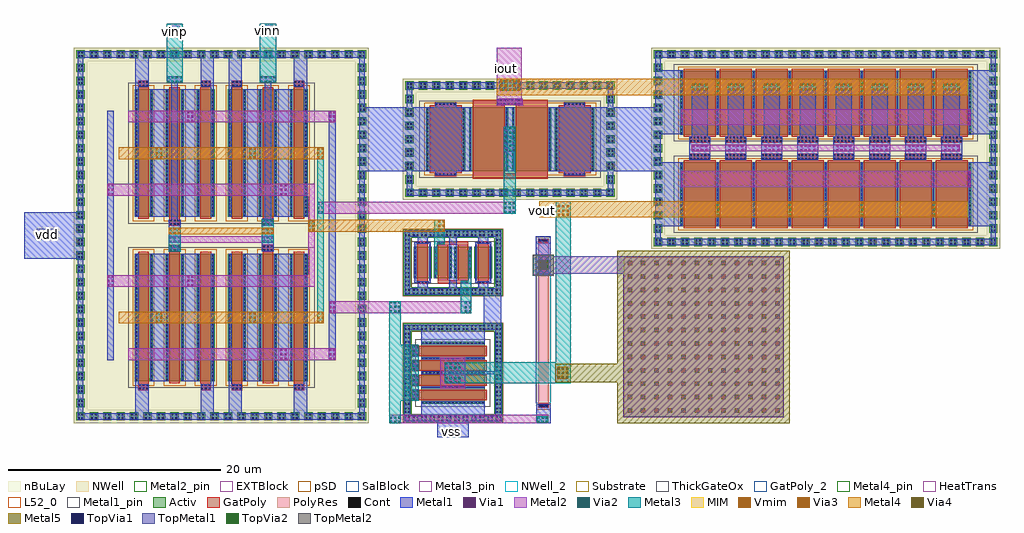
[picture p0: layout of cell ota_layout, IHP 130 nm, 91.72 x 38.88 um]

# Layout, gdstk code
from math import pi, radians
import gdstk
lib = gdstk.Library(unit=1e-6, precision=5e-09)
def R(c, l, rs):  # rectangles x0, y0, x1, y1
    for r in rs: c.add(gdstk.rectangle(r[:2], r[2:], *l))
def A(c, l, x, y, w, h, nx, ny, dx, dy):  # array of equal rectangles
    R(c, l, [(x+i*dx, y+j*dy, x+i*dx+w, y+j*dy+h) for i in range(nx) for j in range(ny)])
def P(c, l, *ps):  # polygons
    for p in ps: c.add(gdstk.Polygon(p, *l))
Activ = (1, 0)
GatPoly = (5, 0)
GatPoly_2 = (5, 2)
Cont = (6, 0)
Metal1 = (8, 0)
Metal1_pin = (8, 2)
Metal2 = (10, 0)
Metal2_pin = (10, 2)
pSD = (14, 0)
Via1 = (19, 0)
SalBlock = (28, 0)
Via2 = (29, 0)
Metal3 = (30, 0)
Metal3_pin = (30, 2)
NWell = (31, 0)
NWell_2 = (31, 2)
nBuLay = (32, 0)
MIM = (36, 0)
Substrate = (40, 0)
ThickGateOx = (44, 0)
Via3 = (49, 0)
Metal4 = (50, 0)
Metal4_pin = (50, 2)
HeatTrans = (51, 0)
L52_0 = (52, 0)
Via4 = (66, 0)
Metal5 = (67, 0)
EXTBlock = (111, 0)
TopVia1 = (125, 0)
TopMetal1 = (126, 0)
PolyRes = (128, 0)
Vmim = (129, 0)
TopVia2 = (133, 0)
TopMetal2 = (134, 0)

via_stack_21 = lib.new_cell('via_stack$21')
R(via_stack_21, Metal1, [(-0.555,-0.31,0.555,0.31)])
R(via_stack_21, Metal2, [(-0.555,-0.305,0.555,0.305)])
A(via_stack_21, Via1, -0.505, -0.3, 0.19, 0.19, 3, 2, 0.41, 0.41)
A(via_stack_21, Via2, -0.505, -0.3, 0.19, 0.19, 3, 2, 0.41, 0.41)
R(via_stack_21, Metal3, [(-0.555,-0.305,0.555,0.305)])

ntap1 = lib.new_cell('ntap1')
R(ntap1, Activ, [(0,0,0.78,0.78)])
R(ntap1, Cont, [(0.14,0.14,0.3,0.3), (0.48,0.14,0.64,0.3), (0.14,0.48,0.3,0.64), (0.48,0.48,0.64,0.64)])
R(ntap1, Metal1, [(0.14,0.09,0.64,0.69)])
R(ntap1, Metal1_pin, [(0.14,0.09,0.64,0.69), (0.14,0.14,0.64,0.64)])
R(ntap1, NWell, [(-0.24,-0.24,1.02,1.02), (0,0,0.78,0.78)])
R(ntap1, NWell_2, [(0,0,0.78,0.78)])
R(ntap1, nBuLay, [(-0.24,-0.24,1.02,1.02)])
ntap1.add(gdstk.Label('well', (0.39,0.01), layer=63, texttype=0))
ntap1.add(gdstk.Label('well', (0.39,0.01), layer=31, texttype=0))

rppd = lib.new_cell('rppd')
R(rppd, GatPoly, [(0,-0.43,1,-0.2), (0,-0.2,1,0), (0,15,1,15.2), (0,15.2,1,15.43)])
R(rppd, Cont, [(0.07,-0.36,0.93,-0.2), (0.07,15.2,0.93,15.36)])
R(rppd, Metal1, [(0.02,-0.43,0.98,-0.13), (0.02,15.13,0.98,15.43)])
R(rppd, Metal1_pin, [(0.02,-0.43,0.98,-0.13), (0.02,15.13,0.98,15.43)])
R(rppd, pSD, [(-0.18,-0.61,1.18,0), (-0.18,0,1.18,15), (-0.18,15,1.18,15.61)])
R(rppd, SalBlock, [(-0.2,0,1.2,15)])
R(rppd, L52_0, [(0,0,1,15)])
R(rppd, EXTBlock, [(-0.18,-0.61,1.18,0), (-0.2,0,1.2,15), (-0.18,15,1.18,15.61)])
R(rppd, PolyRes, [(0,0,1,15)])
rppd.add(gdstk.Label('rppd r=3946.740', (0.5,7.5), layer=63, texttype=0))
rppd.add(gdstk.Label('rppd', (0.5,7.5), layer=52, texttype=0))

pmoshv_2 = lib.new_cell('pmosHV$2')
R(pmoshv_2, Activ, [(0,0,0.3,0.3), (0,0,3.68,6), (3.38,0,3.68,0.3)])
R(pmoshv_2, GatPoly, [(0.34,-0.18,3.34,6.18)])
R(pmoshv_2, GatPoly_2, [(0.34,-0.18,3.34,6.18)])
A(pmoshv_2, Cont, 0.07, 0.07, 0.16, 0.16, 1, 4, 0, 0.355)
A(pmoshv_2, Cont, 3.45, 0.07, 0.16, 0.16, 1, 4, 0, 0.355)
A(pmoshv_2, Cont, 0.07, 1.495, 0.16, 0.16, 1, 4, 0, 0.355)
A(pmoshv_2, Cont, 3.45, 1.495, 0.16, 0.16, 1, 4, 0, 0.355)
A(pmoshv_2, Cont, 0.07, 2.92, 0.16, 0.16, 1, 4, 0, 0.355)
A(pmoshv_2, Cont, 3.45, 2.92, 0.16, 0.16, 1, 4, 0, 0.355)
A(pmoshv_2, Cont, 0.07, 4.345, 0.16, 0.16, 1, 4, 0, 0.355)
A(pmoshv_2, Cont, 3.45, 4.345, 0.16, 0.16, 1, 4, 0, 0.355)
R(pmoshv_2, Cont, [(0.07,5.77,0.23,5.93), (3.45,5.77,3.61,5.93)])
R(pmoshv_2, Metal1, [(0.07,0,0.23,6), (3.45,0,3.61,6)])
R(pmoshv_2, Metal1_pin, [(0.07,0,0.23,6), (3.45,0,3.61,6)])
R(pmoshv_2, pSD, [(-0.18,-0.4,3.86,6.4)])
R(pmoshv_2, NWell, [(-0.62,-0.62,4.3,6.62)])
R(pmoshv_2, Substrate, [(3.38,0,3.68,0.3)])
R(pmoshv_2, ThickGateOx, [(-0.62,-0.62,4.3,6.62)])
R(pmoshv_2, HeatTrans, [(0.34,-0.18,3.34,6.18)])
pmoshv_2.add(gdstk.Label('pmosHV', (1.84,3), layer=63, texttype=0))
pmoshv_2.add(gdstk.Label('pmos', (1.84,3), layer=51, texttype=0))

ptap1 = lib.new_cell('ptap1')
R(ptap1, Activ, [(0,0,0.78,0.78)])
R(ptap1, Cont, [(0.14,0.14,0.3,0.3), (0.48,0.14,0.64,0.3), (0.14,0.48,0.3,0.64), (0.48,0.48,0.64,0.64)])
R(ptap1, Metal1, [(0.14,0.09,0.64,0.69), (0.14,0.14,0.64,0.64)])
R(ptap1, Metal1_pin, [(0.14,0.14,0.64,0.64)])
R(ptap1, pSD, [(-0.03,-0.03,0.81,0.81)])
R(ptap1, Substrate, [(0,0,0.78,0.78)])
ptap1.add(gdstk.Label('sub!', (0.39,0.01), layer=63, texttype=0))
ptap1.add(gdstk.Label('sub!', (0.39,0.01), layer=40, texttype=0))

via_stack_37 = lib.new_cell('via_stack$37')
R(via_stack_37, Metal1, [(-0.35,-0.31,0.35,0.31)])
R(via_stack_37, Metal2, [(-0.35,-0.305,0.35,0.305)])
R(via_stack_37, Via1, [(-0.3,-0.3,-0.11,-0.11), (0.11,-0.3,0.3,-0.11), (-0.3,0.11,-0.11,0.3), (0.11,0.11,0.3,0.3)])
R(via_stack_37, Via2, [(-0.3,-0.3,-0.11,-0.11), (0.11,-0.3,0.3,-0.11), (-0.3,0.11,-0.11,0.3), (0.11,0.11,0.3,0.3)])
R(via_stack_37, Metal3, [(-0.35,-0.305,0.35,0.305)])
R(via_stack_37, Via3, [(-0.3,-0.3,-0.11,-0.11), (0.11,-0.3,0.3,-0.11), (-0.3,0.11,-0.11,0.3), (0.11,0.11,0.3,0.3)])
R(via_stack_37, Metal4, [(-0.35,-0.305,0.35,0.305)])
R(via_stack_37, Via4, [(-0.3,-0.3,-0.11,-0.11), (0.11,-0.3,0.3,-0.11), (-0.3,0.11,-0.11,0.3), (0.11,0.11,0.3,0.3)])
R(via_stack_37, Metal5, [(-0.35,-0.31,0.35,0.31)])
R(via_stack_37, TopVia1, [(-0.21,-0.21,0.21,0.21)])
R(via_stack_37, TopMetal1, [(-0.95,-0.95,0.95,0.95)])
R(via_stack_37, TopVia2, [(-0.45,-0.45,0.45,0.45)])
R(via_stack_37, TopMetal2, [(-1,-1,1,1)])

via_stack_17 = lib.new_cell('via_stack$17')
R(via_stack_17, Metal1, [(-0.76,-0.31,0.76,0.31)])
R(via_stack_17, Metal2, [(-0.76,-0.305,0.76,0.305)])
A(via_stack_17, Via1, -0.71, -0.3, 0.19, 0.19, 4, 2, 0.41, 0.41)
A(via_stack_17, Via2, -0.71, -0.3, 0.19, 0.19, 4, 2, 0.41, 0.41)
R(via_stack_17, Metal3, [(-0.76,-0.305,0.76,0.305)])
A(via_stack_17, Via3, -0.71, -0.3, 0.19, 0.19, 4, 2, 0.41, 0.41)
R(via_stack_17, Metal4, [(-0.76,-0.305,0.76,0.305)])

via_stack_15 = lib.new_cell('via_stack$15')
R(via_stack_15, GatPoly, [(-1,-0.32,1,0.32)])
A(via_stack_15, Cont, -0.93, -0.25, 0.16, 0.16, 6, 2, 0.34, 0.34)
R(via_stack_15, Metal1, [(-0.98,-0.25,0.98,0.25)])

via_stack_34 = lib.new_cell('via_stack$34')
R(via_stack_34, Metal3, [(-0.555,-0.51,0.555,0.51)])
A(via_stack_34, Via3, -0.505, -0.505, 0.19, 0.19, 3, 3, 0.41, 0.41)
R(via_stack_34, Metal4, [(-0.555,-0.51,0.555,0.51)])

pmoshv_3 = lib.new_cell('pmosHV$3')
A(pmoshv_3, Activ, 0, 0, 0.3, 0.3, 9, 1, 3.38, 0)
R(pmoshv_3, Activ, [(0,0,27.34,6)])
A(pmoshv_3, GatPoly, 0.34, -0.18, 3, 6.36, 8, 1, 3.38, 0)
R(pmoshv_3, GatPoly_2, [(0.34,-0.18,3.34,6.18)])
A(pmoshv_3, Cont, 0.07, 0.07, 0.16, 0.16, 9, 4, 3.38, 0.355)
A(pmoshv_3, Cont, 0.07, 1.495, 0.16, 0.16, 9, 4, 3.38, 0.355)
A(pmoshv_3, Cont, 0.07, 2.92, 0.16, 0.16, 9, 4, 3.38, 0.355)
A(pmoshv_3, Cont, 0.07, 4.345, 0.16, 0.16, 9, 4, 3.38, 0.355)
A(pmoshv_3, Cont, 0.07, 5.77, 0.16, 0.16, 9, 1, 3.38, 0)
A(pmoshv_3, Metal1, 0.07, 0, 0.16, 6, 9, 1, 3.38, 0)
R(pmoshv_3, Metal1_pin, [(0.07,0,0.23,6), (3.45,0,3.61,6)])
R(pmoshv_3, pSD, [(-0.18,-0.4,27.52,6.4)])
R(pmoshv_3, NWell, [(-0.62,-0.62,27.96,6.62)])
R(pmoshv_3, Substrate, [(27.04,0,27.34,0.3)])
R(pmoshv_3, ThickGateOx, [(-0.62,-0.62,27.96,6.62)])
A(pmoshv_3, HeatTrans, 0.34, -0.18, 3, 6.36, 8, 1, 3.38, 0)
pmoshv_3.add(gdstk.Label('pmosHV', (1.84,3), layer=63, texttype=0))
pmoshv_3.add(gdstk.Label('pmos', (1.84,3), layer=51, texttype=0))
pmoshv_3.add(gdstk.Label('pmos', (5.22,3), layer=51, texttype=0))
pmoshv_3.add(gdstk.Label('pmos', (8.6,3), layer=51, texttype=0))
pmoshv_3.add(gdstk.Label('pmos', (11.98,3), layer=51, texttype=0))
pmoshv_3.add(gdstk.Label('pmos', (15.36,3), layer=51, texttype=0))
pmoshv_3.add(gdstk.Label('pmos', (18.74,3), layer=51, texttype=0))
pmoshv_3.add(gdstk.Label('pmos', (22.12,3), layer=51, texttype=0))
pmoshv_3.add(gdstk.Label('pmos', (25.5,3), layer=51, texttype=0))

via_stack_13 = lib.new_cell('via_stack$13')
R(via_stack_13, Metal1, [(-0.105,-0.76,0.105,0.76)])
R(via_stack_13, Metal2, [(-0.1,-0.76,0.1,0.76)])
A(via_stack_13, Via1, -0.095, -0.71, 0.19, 0.19, 1, 4, 0, 0.41)
A(via_stack_13, Via2, -0.095, -0.71, 0.19, 0.19, 1, 4, 0, 0.41)
R(via_stack_13, Metal3, [(-0.1,-0.76,0.1,0.76)])
A(via_stack_13, Via3, -0.095, -0.71, 0.19, 0.19, 1, 4, 0, 0.41)
R(via_stack_13, Metal4, [(-0.1,-0.76,0.1,0.76)])

via_stack_32 = lib.new_cell('via_stack$32')
R(via_stack_32, GatPoly, [(-1,-0.15,1,0.15)])
A(via_stack_32, Cont, -0.93, -0.08, 0.16, 0.16, 6, 1, 0.34, 0)
R(via_stack_32, Metal1, [(-0.98,-0.08,0.98,0.08)])

via_stack_16 = lib.new_cell('via_stack$16')
R(via_stack_16, Metal1, [(-0.76,-0.31,0.76,0.31)])
R(via_stack_16, Metal2, [(-0.76,-0.305,0.76,0.305)])
A(via_stack_16, Via1, -0.71, -0.3, 0.19, 0.19, 4, 2, 0.41, 0.41)

via_stack_14 = lib.new_cell('via_stack$14')
R(via_stack_14, Metal1, [(-0.105,-0.76,0.105,0.76)])
R(via_stack_14, Metal2, [(-0.1,-0.76,0.1,0.76)])
A(via_stack_14, Via1, -0.095, -0.71, 0.19, 0.19, 1, 4, 0, 0.41)

via_stack_1 = lib.new_cell('via_stack$1')
R(via_stack_1, Metal1, [(-0.31,-0.555,0.31,0.555)])
R(via_stack_1, Metal2, [(-0.305,-0.555,0.305,0.555)])
A(via_stack_1, Via1, -0.3, -0.505, 0.19, 0.19, 1, 3, 0, 0.41)
A(via_stack_1, Via1, 0.11, -0.505, 0.19, 0.19, 1, 3, 0, 0.41)
A(via_stack_1, Via2, -0.3, -0.505, 0.19, 0.19, 1, 3, 0, 0.41)
A(via_stack_1, Via2, 0.11, -0.505, 0.19, 0.19, 1, 3, 0, 0.41)
R(via_stack_1, Metal3, [(-0.305,-0.555,0.305,0.555)])
A(via_stack_1, Via3, -0.3, -0.505, 0.19, 0.19, 1, 3, 0, 0.41)
A(via_stack_1, Via3, 0.11, -0.505, 0.19, 0.19, 1, 3, 0, 0.41)
R(via_stack_1, Metal4, [(-0.305,-0.555,0.305,0.555)])

via_stack_26 = lib.new_cell('via_stack$26')
R(via_stack_26, Metal2, [(-0.555,-0.51,0.555,0.51)])
A(via_stack_26, Via2, -0.505, -0.505, 0.19, 0.19, 3, 3, 0.41, 0.41)
R(via_stack_26, Metal3, [(-0.555,-0.51,0.555,0.51)])

via_stack_7 = lib.new_cell('via_stack$7')
R(via_stack_7, Metal3, [(-0.555,-0.305,0.555,0.305)])
A(via_stack_7, Via3, -0.505, -0.3, 0.19, 0.19, 3, 2, 0.41, 0.41)
R(via_stack_7, Metal4, [(-0.555,-0.305,0.555,0.305)])

via_stack_12 = lib.new_cell('via_stack$12')
R(via_stack_12, GatPoly, [(-1,-0.32,1,0.32)])
A(via_stack_12, Cont, -0.93, -0.25, 0.16, 0.16, 6, 2, 0.34, 0.34)
R(via_stack_12, Metal1, [(-1.17,-0.31,1.17,0.31)])
R(via_stack_12, Metal2, [(-1.17,-0.305,1.17,0.305)])
A(via_stack_12, Via1, -1.12, -0.3, 0.19, 0.19, 6, 2, 0.41, 0.41)

via_stack_11 = lib.new_cell('via_stack$11')
R(via_stack_11, Metal1, [(-0.515,-1.17,0.515,1.17)])
R(via_stack_11, Metal2, [(-0.51,-1.17,0.51,1.17)])
A(via_stack_11, Via1, -0.505, -1.12, 0.19, 0.19, 3, 6, 0.41, 0.41)
A(via_stack_11, Via2, -0.505, -1.12, 0.19, 0.19, 3, 6, 0.41, 0.41)
R(via_stack_11, Metal3, [(-0.51,-1.17,0.51,1.17)])

via_stack_3 = lib.new_cell('via_stack$3')
R(via_stack_3, Metal1, [(-0.31,-0.555,0.31,0.555)])
R(via_stack_3, Metal2, [(-0.305,-0.555,0.305,0.555)])
A(via_stack_3, Via1, -0.3, -0.505, 0.19, 0.19, 1, 3, 0, 0.41)
A(via_stack_3, Via1, 0.11, -0.505, 0.19, 0.19, 1, 3, 0, 0.41)

via_stack_4 = lib.new_cell('via_stack$4')
R(via_stack_4, Metal1, [(-0.76,-0.31,0.76,0.31)])
R(via_stack_4, Metal2, [(-0.76,-0.305,0.76,0.305)])
A(via_stack_4, Via1, -0.71, -0.3, 0.19, 0.19, 4, 2, 0.41, 0.41)
A(via_stack_4, Via2, -0.71, -0.3, 0.19, 0.19, 4, 2, 0.41, 0.41)
R(via_stack_4, Metal3, [(-0.76,-0.305,0.76,0.305)])

via_stack_2 = lib.new_cell('via_stack$2')
R(via_stack_2, Metal3, [(-0.305,-0.555,0.305,0.555)])
A(via_stack_2, Via3, -0.3, -0.505, 0.19, 0.19, 1, 3, 0, 0.41)
A(via_stack_2, Via3, 0.11, -0.505, 0.19, 0.19, 1, 3, 0, 0.41)
R(via_stack_2, Metal4, [(-0.305,-0.555,0.305,0.555)])

via_stack_23 = lib.new_cell('via_stack$23')
R(via_stack_23, Metal2, [(-0.965,-0.51,0.965,0.51)])
A(via_stack_23, Via2, -0.915, -0.505, 0.19, 0.19, 5, 3, 0.41, 0.41)
R(via_stack_23, Metal3, [(-0.965,-0.51,0.965,0.51)])
A(via_stack_23, Via3, -0.915, -0.505, 0.19, 0.19, 5, 3, 0.41, 0.41)
R(via_stack_23, Metal4, [(-0.965,-0.51,0.965,0.51)])

via_stack = lib.new_cell('via_stack')
R(via_stack, GatPoly, [(-0.49,-0.32,0.49,0.32)])
A(via_stack, Cont, -0.42, -0.25, 0.16, 0.16, 3, 2, 0.34, 0.34)
R(via_stack, Metal1, [(-0.47,-0.25,0.47,0.25)])

via_stack_28 = lib.new_cell('via_stack$28')
R(via_stack_28, Metal2, [(-0.305,-0.555,0.305,0.555)])
A(via_stack_28, Via2, -0.3, -0.505, 0.19, 0.19, 1, 3, 0, 0.41)
A(via_stack_28, Via2, 0.11, -0.505, 0.19, 0.19, 1, 3, 0, 0.41)
R(via_stack_28, Metal3, [(-0.305,-0.555,0.305,0.555)])
A(via_stack_28, Via3, -0.3, -0.505, 0.19, 0.19, 1, 3, 0, 0.41)
A(via_stack_28, Via3, 0.11, -0.505, 0.19, 0.19, 1, 3, 0, 0.41)
R(via_stack_28, Metal4, [(-0.305,-0.555,0.305,0.555)])

via_stack_6 = lib.new_cell('via_stack$6')
R(via_stack_6, GatPoly, [(-0.49,-0.32,0.49,0.32)])
A(via_stack_6, Cont, -0.42, -0.25, 0.16, 0.16, 3, 2, 0.34, 0.34)
R(via_stack_6, Metal1, [(-0.555,-0.31,0.555,0.31)])
R(via_stack_6, Metal2, [(-0.555,-0.305,0.555,0.305)])
A(via_stack_6, Via1, -0.505, -0.3, 0.19, 0.19, 3, 2, 0.41, 0.41)
A(via_stack_6, Via2, -0.505, -0.3, 0.19, 0.19, 3, 2, 0.41, 0.41)
R(via_stack_6, Metal3, [(-0.555,-0.305,0.555,0.305)])

pmoshv = lib.new_cell('pmosHV')
R(pmoshv, Activ, [(0,0,0.3,0.3), (0,0,1.68,12), (1.38,0,1.68,0.3)])
R(pmoshv, GatPoly, [(0.34,-0.18,1.34,12.18)])
R(pmoshv, GatPoly_2, [(0.34,-0.18,1.34,12.18)])
A(pmoshv, Cont, 0.07, 0.41, 0.16, 0.16, 1, 5, 0, 0.345)
A(pmoshv, Cont, 1.45, 0.41, 0.16, 0.16, 1, 5, 0, 0.345)
A(pmoshv, Cont, 0.07, 2.13, 0.16, 0.16, 1, 6, 0, 0.345)
A(pmoshv, Cont, 1.45, 2.13, 0.16, 0.16, 1, 6, 0, 0.345)
A(pmoshv, Cont, 0.07, 4.195, 0.16, 0.16, 1, 6, 0, 0.345)
A(pmoshv, Cont, 1.45, 4.195, 0.16, 0.16, 1, 6, 0, 0.345)
A(pmoshv, Cont, 0.07, 6.26, 0.16, 0.16, 1, 5, 0, 0.345)
A(pmoshv, Cont, 1.45, 6.26, 0.16, 0.16, 1, 5, 0, 0.345)
A(pmoshv, Cont, 0.07, 7.98, 0.16, 0.16, 1, 6, 0, 0.345)
A(pmoshv, Cont, 1.45, 7.98, 0.16, 0.16, 1, 6, 0, 0.345)
A(pmoshv, Cont, 0.07, 10.045, 0.16, 0.16, 1, 6, 0, 0.345)
A(pmoshv, Cont, 1.45, 10.045, 0.16, 0.16, 1, 6, 0, 0.345)
R(pmoshv, Cont, [(0.07,0.07,0.23,0.23), (1.45,0.07,1.61,0.23)])
R(pmoshv, Metal1, [(0.07,0,0.23,12), (1.45,0,1.61,12)])
R(pmoshv, Metal1_pin, [(0.07,0,0.23,12), (1.45,0,1.61,12)])
R(pmoshv, pSD, [(-0.18,-0.4,1.86,12.4)])
R(pmoshv, NWell, [(-0.62,-0.62,2.3,12.62)])
R(pmoshv, Substrate, [(1.38,0,1.68,0.3)])
R(pmoshv, ThickGateOx, [(-0.62,-0.62,2.3,12.62)])
R(pmoshv, HeatTrans, [(0.34,-0.18,1.34,12.18)])
pmoshv.add(gdstk.Label('pmosHV', (0.84,6), layer=63, texttype=0))
pmoshv.add(gdstk.Label('pmos', (0.84,6), layer=51, texttype=0))

via_stack_24 = lib.new_cell('via_stack$24')
R(via_stack_24, Metal2, [(-0.305,-0.555,0.305,0.555)])
A(via_stack_24, Via2, -0.3, -0.505, 0.19, 0.19, 1, 3, 0, 0.41)
A(via_stack_24, Via2, 0.11, -0.505, 0.19, 0.19, 1, 3, 0, 0.41)
R(via_stack_24, Metal3, [(-0.305,-0.555,0.305,0.555)])

nmoshv_1 = lib.new_cell('nmosHV$1')
R(nmoshv_1, Activ, [(0,0,0.3,0.3), (0,0,1.68,3), (1.38,0,1.68,0.3)])
R(nmoshv_1, GatPoly, [(0.34,-0.18,1.34,3.18)])
R(nmoshv_1, GatPoly_2, [(0.34,-0.18,1.34,3.18)])
A(nmoshv_1, Cont, 0.07, 0.07, 0.16, 0.16, 1, 7, 0, 0.385)
A(nmoshv_1, Cont, 1.45, 0.07, 0.16, 0.16, 1, 7, 0, 0.385)
R(nmoshv_1, Cont, [(0.07,2.77,0.23,2.93), (1.45,2.77,1.61,2.93)])
R(nmoshv_1, Metal1, [(0.07,0,0.23,3), (1.45,0,1.61,3)])
R(nmoshv_1, Metal1_pin, [(0.07,0,0.23,3), (1.45,0,1.61,3)])
R(nmoshv_1, ThickGateOx, [(-0.27,-0.52,1.95,3.52)])
R(nmoshv_1, HeatTrans, [(0.34,-0.18,1.34,3.18)])
nmoshv_1.add(gdstk.Label('nmosHV', (0.84,1.5), layer=63, texttype=0))
nmoshv_1.add(gdstk.Label('nmosHV', (0.84,1.5), layer=51, texttype=0))

via_stack_8 = lib.new_cell('via_stack$8')
R(via_stack_8, Metal1, [(-0.105,-1.17,0.105,1.17)])
R(via_stack_8, Metal2, [(-0.1,-1.17,0.1,1.17)])
A(via_stack_8, Via1, -0.095, -1.12, 0.19, 0.19, 1, 6, 0, 0.41)
A(via_stack_8, Via2, -0.095, -1.12, 0.19, 0.19, 1, 6, 0, 0.41)
R(via_stack_8, Metal3, [(-0.1,-1.17,0.1,1.17)])

via_stack_29 = lib.new_cell('via_stack$29')
R(via_stack_29, Metal2, [(-0.555,-0.305,0.555,0.305)])
A(via_stack_29, Via2, -0.505, -0.3, 0.19, 0.19, 3, 2, 0.41, 0.41)
R(via_stack_29, Metal3, [(-0.555,-0.305,0.555,0.305)])

via_stack_33 = lib.new_cell('via_stack$33')
R(via_stack_33, GatPoly, [(-0.49,-0.15,0.49,0.15)])
A(via_stack_33, Cont, -0.42, -0.08, 0.16, 0.16, 3, 1, 0.34, 0)
R(via_stack_33, Metal1, [(-0.47,-0.08,0.47,0.08)])

via_stack_18 = lib.new_cell('via_stack$18')
R(via_stack_18, Metal1, [(-0.105,-1.17,0.105,1.17)])
R(via_stack_18, Metal2, [(-0.1,-1.17,0.1,1.17)])
A(via_stack_18, Via1, -0.095, -1.12, 0.19, 0.19, 1, 6, 0, 0.41)

via_stack_5 = lib.new_cell('via_stack$5')
R(via_stack_5, Metal1, [(-0.555,-0.31,0.555,0.31)])
R(via_stack_5, Metal2, [(-0.555,-0.305,0.555,0.305)])
A(via_stack_5, Via1, -0.505, -0.3, 0.19, 0.19, 3, 2, 0.41, 0.41)

via_stack_10 = lib.new_cell('via_stack$10')
R(via_stack_10, Metal1, [(-0.35,-0.105,0.35,0.105)])
R(via_stack_10, Metal2, [(-0.35,-0.1,0.35,0.1)])
R(via_stack_10, Via1, [(-0.3,-0.095,-0.11,0.095), (0.11,-0.095,0.3,0.095)])
R(via_stack_10, Via2, [(-0.3,-0.095,-0.11,0.095), (0.11,-0.095,0.3,0.095)])
R(via_stack_10, Metal3, [(-0.35,-0.1,0.35,0.1)])

nmoshv = lib.new_cell('nmosHV')
A(nmoshv, Activ, 0, 0, 0.3, 0.3, 5, 1, 1.38, 0)
R(nmoshv, Activ, [(0,0,5.82,6)])
A(nmoshv, GatPoly, 0.34, -0.18, 1, 6.36, 4, 1, 1.38, 0)
R(nmoshv, GatPoly_2, [(0.34,-0.18,1.34,6.18)])
A(nmoshv, Cont, 0.07, 0.07, 0.16, 0.16, 5, 4, 1.38, 0.355)
A(nmoshv, Cont, 0.07, 1.495, 0.16, 0.16, 5, 4, 1.38, 0.355)
A(nmoshv, Cont, 0.07, 2.92, 0.16, 0.16, 5, 4, 1.38, 0.355)
A(nmoshv, Cont, 0.07, 4.345, 0.16, 0.16, 5, 4, 1.38, 0.355)
A(nmoshv, Cont, 0.07, 5.77, 0.16, 0.16, 5, 1, 1.38, 0)
A(nmoshv, Metal1, 0.07, 0, 0.16, 6, 5, 1, 1.38, 0)
R(nmoshv, Metal1_pin, [(0.07,0,0.23,6), (1.45,0,1.61,6)])
R(nmoshv, ThickGateOx, [(-0.27,-0.52,6.09,6.52)])
A(nmoshv, HeatTrans, 0.34, -0.18, 1, 6.36, 4, 1, 1.38, 0)
nmoshv.add(gdstk.Label('nmosHV', (0.84,3), layer=63, texttype=0))
nmoshv.add(gdstk.Label('nmosHV', (0.84,3), layer=51, texttype=0))
nmoshv.add(gdstk.Label('nmosHV', (2.22,3), layer=51, texttype=0))
nmoshv.add(gdstk.Label('nmosHV', (3.6,3), layer=51, texttype=0))
nmoshv.add(gdstk.Label('nmosHV', (4.98,3), layer=51, texttype=0))

via_stack_19 = lib.new_cell('via_stack$19')
R(via_stack_19, Metal2, [(-0.305,-0.76,0.305,0.76)])
A(via_stack_19, Via2, -0.3, -0.71, 0.19, 0.19, 1, 4, 0, 0.41)
A(via_stack_19, Via2, 0.11, -0.71, 0.19, 0.19, 1, 4, 0, 0.41)
R(via_stack_19, Metal3, [(-0.305,-0.76,0.305,0.76)])

via_stack_9 = lib.new_cell('via_stack$9')
R(via_stack_9, GatPoly, [(-0.32,-0.15,0.32,0.15)])
R(via_stack_9, Cont, [(-0.25,-0.08,-0.09,0.08), (0.09,-0.08,0.25,0.08)])
R(via_stack_9, Metal1, [(-0.35,-0.105,0.35,0.105)])
R(via_stack_9, Metal2, [(-0.35,-0.1,0.35,0.1)])
R(via_stack_9, Via1, [(-0.3,-0.095,-0.11,0.095), (0.11,-0.095,0.3,0.095)])
R(via_stack_9, Via2, [(-0.3,-0.095,-0.11,0.095), (0.11,-0.095,0.3,0.095)])
R(via_stack_9, Metal3, [(-0.35,-0.1,0.35,0.1)])

cmim = lib.new_cell('cmim')
R(cmim, MIM, [(0,0,15,15)])
R(cmim, Metal5, [(-0.6,-0.6,15.6,15.6)])
R(cmim, TopMetal1, [(-0.06,-0.06,15.06,15.06)])
A(cmim, Vmim, 0.36, 0.36, 0.42, 0.42, 12, 12, 1.26, 1.26)

via_stack_35 = lib.new_cell('via_stack$35')
R(via_stack_35, Metal3, [(-0.555,-0.51,0.555,0.51)])
A(via_stack_35, Via3, -0.505, -0.505, 0.19, 0.19, 3, 3, 0.41, 0.41)
R(via_stack_35, Metal4, [(-0.555,-0.51,0.555,0.51)])
A(via_stack_35, Via4, -0.505, -0.505, 0.19, 0.19, 3, 3, 0.41, 0.41)
R(via_stack_35, Metal5, [(-0.555,-0.51,0.555,0.51)])

ota_layout = lib.new_cell('ota_layout')
R(ota_layout, GatPoly, [(-18.53,3.7,-15.64,3.955), (-18.53,7.315,-15.64,7.57), (-15.235,13.5,-8.195,14.045), (-15.235,20.405,-8.195,20.95)])
A(ota_layout, Metal1, 5.135, 15.3, 1.96, 2.16, 8, 1, 3.38, 0)
A(ota_layout, Metal1, 5.355, 16.07, 1.52, 6.375, 8, 1, 3.38, 0)
R(ota_layout, Metal1, [(-18.555,-10.8,-15.615,-8.78), (-9.27,-9.45,-7.91,-7.7), (-21.675,-9.28,-21.075,-0.2), (-21.675,-9.28,-12.495,-8.78), (-20.085,-9.28,-14.085,-7.42), (-13.095,-9.28,-12.495,-0.2), (-52.335,-9.12,-51.835,25.5), (-52.335,-9.12,-25.375,-8.52), (-46.925,-9.12,-45.685,-5.785), (-40.785,-9.12,-39.545,-5.785), (-38.165,-9.12,-36.925,-5.785), (-32.025,-9.12,-30.785,-5.785), (-25.875,-9.12,-25.375,25.5), (-46.925,-6.285,-46.625,6.465), (-46.925,-6.285,-45.685,-5.785), (-46.925,-6.285,-46.625,-5.67), (-40.785,-6.285,-39.545,-5.785), (-39.845,-6.285,-39.545,6.465), (-38.165,-6.285,-37.865,6.465), (-38.165,-6.285,-36.925,-5.785), (-32.025,-6.285,-30.785,-5.785), (-31.085,-6.285,-30.785,6.465), (-45.545,-5.535,-43.845,6.465), (-42.625,-5.535,-40.925,6.465), (-36.785,-5.535,-35.085,6.465), (-33.865,-5.535,-32.165,6.465), (-20.085,-4.88,-12.495,-4.6), (-49.595,-3.535,-48.975,19.91), (-28.74,-3.535,-28.12,19.91), (-20.085,-2.06,-14.085,-0.2), (-21.675,-0.7,-12.495,-0.2), (-14.18,-0.2,-12.545,2.605), (-21.625,2.605,-21.125,8.665), (-21.625,2.605,-12.545,3.205), (-20.405,2.605,-19.465,3.885), (-17.42,2.605,-16.75,8.665), (-13.045,2.605,-12.545,8.665), (-20.705,3.725,-20.545,4.135), (-20.705,3.725,-19.165,3.885), (-19.325,3.725,-19.165,7.545), (-15.005,3.725,-14.845,7.545), (-15.005,3.725,-13.465,3.885), (-13.625,3.725,-13.465,7.545), (-9.29,4.57,-7.89,8.08), (-57.395,6,-51.835,10.38), (-35.03,6.715,-33.92,8.885), (-20.705,7.135,-20.545,7.545), (1.945,7.26,2.445,25.5), (1.945,7.26,33.945,7.86), (33.445,7.26,33.945,25.5), (-20.705,7.385,-19.165,7.545), (-20.405,7.385,-19.465,8.665), (-15.005,7.385,-13.465,7.545), (-14.705,7.385,-13.765,8.665), (-43.79,7.475,-42.68,9.665), (-21.625,8.065,-12.545,8.665), (1.945,9.05,4.505,15.05), (31.385,9.05,33.945,15.05), (-43.535,9.165,-42.935,23.155), (-34.775,9.725,-34.175,23.15), (-46.925,9.915,-46.625,22.665), (-45.545,9.915,-43.845,21.915), (-42.625,9.915,-40.925,21.915), (-39.845,9.915,-39.545,22.665), (-38.165,9.915,-37.865,22.665), (-36.785,9.915,-35.085,21.915), (-33.865,9.915,-32.165,21.915), (-31.085,9.915,-30.785,22.665), (-21.415,11.885,-2.015,12.485), (-21.415,11.885,-20.915,22.565), (-2.515,11.885,-2.015,22.565), (-18.755,13.815,-16.795,14.225), (-6.635,13.815,-4.675,14.225), (-25.875,14.225,-15.345,20.225), (-12.125,14.225,-11.305,20.225), (-7.925,14.225,2.445,20.225), (1.945,17.71,4.505,23.71), (31.385,17.71,33.945,23.71), (-18.755,20.225,-16.795,20.635), (-6.635,20.225,-4.675,20.635), (-21.415,21.965,-2.015,22.565), (-46.925,22.165,-45.685,22.665), (-46.925,22.165,-45.685,25.5), (-40.785,22.165,-39.545,22.665), (-40.785,22.165,-39.545,25.5), (-38.165,22.165,-36.925,22.665), (-38.165,22.165,-36.925,25.5), (-32.025,22.165,-30.785,22.665), (-32.025,22.165,-30.785,25.5), (-52.335,24.9,-25.375,25.5), (1.945,24.9,33.945,25.5)])
P(ota_layout, Metal1, [(-14.705,2.605),(-14.705,3.885),(-13.765,3.885),(-13.765,2.605),(-14.14,2.605)])
R(ota_layout, Metal1_pin, [(-17.38,-10.515,-17.08,-9.915), (-56.185,7.79,-54.185,8.79)])
R(ota_layout, Metal2, [(-23.08,-9.45,-8.11,-8.67), (-18.255,-6.22,-15.915,-3.26), (-47.615,-3.535,-28.12,-2.425), (-28.73,0.885,-15.35,1.995), (-49.59,3.35,-30.095,4.46), (-30.7,3.35,-30.09,13.025), (-16.34,3.7,-15.64,3.935), (-18.53,7.335,-17.86,7.59), (-43.79,7.48,-33.92,8.09), (-29.84,10.22,-11.205,11.33), (-49.59,11.915,-30.095,13.025), (4.325,12.715,31.565,14.235), (5.355,16.075,30.535,16.685), (4.325,18.525,31.565,20.045), (-47.615,18.8,-28.12,19.91), (-12.97,20.42,-10.63,25.83)])
R(ota_layout, Metal2_pin, [(-12.205,23.62,-11.205,24.12)])
R(ota_layout, Metal3, [(-23.08,-9.45,-21.97,1.995), (-23.08,-7.365,-20.28,-2.115), (-17.845,-5.735,-5.995,-3.745), (-7.425,-5.735,-5.995,11.385), (-29.84,-0.09,-29.23,16.47), (-16.34,0.885,-15.35,3.93), (-15.64,3.73,-15.35,6.805), (-18.82,4.465,-18.56,7.54), (-43.79,6.66,-42.68,8.89), (-18.82,7.34,-17.86,9.655), (-35.03,7.475,-33.92,9.72), (-12.315,10.22,-11.205,18.395), (-35.23,22.535,-33.71,28.085), (-43.995,22.54,-42.475,28.085)])
R(ota_layout, Metal3_pin, [(-43.755,26.885,-42.755,27.885), (-34.985,26.91,-33.985,27.91)])
R(ota_layout, NWell, [(-51.455,-8.19,-26.255,24.57), (2.825,8.19,33.065,24.57), (-20.535,12.815,-2.895,21.635)])
R(ota_layout, Metal4, [(-48.475,-0.09,-47.615,1.02), (-47.615,-0.09,-29.235,1.02), (-43.79,8.28,-33.92,8.89), (-30.7,8.545,-17.865,9.655), (-8.955,9.865,31.275,11.385), (-48.475,15.36,-47.615,16.47), (-47.615,15.36,-29.235,16.47), (-12.97,21.375,31.275,22.895)])
R(ota_layout, Metal4_pin, [(-8.955,10.31,-7.955,10.81)])
R(ota_layout, Metal5, [(2.26,-9.45,14.565,6.75), (-7.465,-5.605,-1.635,-3.875)])
R(ota_layout, TopMetal1, [(-9.29,4.57,14.025,6.21)])
ota_layout.add(gdstk.Reference(via_stack_21, (-8.665,-9.14), rotation=pi, x_reflection=True))
r = gdstk.Reference(ntap1, (-52.475,-9.21)); r.repetition = gdstk.Repetition(1, 28, v1=(0,0), v2=(0,1.26)); ota_layout.add(r)
r = gdstk.Reference(ntap1, (-26.015,-9.21)); r.repetition = gdstk.Repetition(1, 28, v1=(0,0), v2=(0,1.26)); ota_layout.add(r)
ota_layout.add(gdstk.Reference(rppd, (-8.09,-7.57), rotation=pi, x_reflection=True))
r = gdstk.Reference(ntap1, (-21.555,12.575), x_reflection=True); r.repetition = gdstk.Repetition(16, 1, v1=(1.26,0), v2=(0,0)); ota_layout.add(r)
r = gdstk.Reference(ntap1, (-21.555,22.655), x_reflection=True); r.repetition = gdstk.Repetition(16, 1, v1=(1.26,0), v2=(0,0)); ota_layout.add(r)
r = gdstk.Reference(ntap1, (2.585,25.59), rotation=pi); r.repetition = gdstk.Repetition(1, 15, v1=(0,0), v2=(0,-1.26)); ota_layout.add(r)
r = gdstk.Reference(ntap1, (34.085,25.59), rotation=pi); r.repetition = gdstk.Repetition(1, 15, v1=(0,0), v2=(0,-1.26)); ota_layout.add(r)
ota_layout.add(gdstk.Reference(pmoshv_2, (-11.535,14.225)))
r = gdstk.Reference(ptap1, (-21.765,7.975)); r.repetition = gdstk.Repetition(12, 1, v1=(0.78,0), v2=(0,0)); ota_layout.add(r)
ota_layout.add(gdstk.Reference(via_stack_37, (-8.595,5.385)))
r = gdstk.Reference(via_stack_17, (29.775,22.135), rotation=pi); r.repetition = gdstk.Repetition(8, 1, v1=(-3.38,0), v2=(0,0)); ota_layout.add(r)
r = gdstk.Reference(via_stack_15, (29.775,17.21), rotation=pi); r.repetition = gdstk.Repetition(8, 1, v1=(-3.38,0), v2=(0,0)); ota_layout.add(r)
r = gdstk.Reference(ntap1, (-2.655,21.395), x_reflection=True); r.repetition = gdstk.Repetition(1, 7, v1=(0,0), v2=(0,-1.26)); ota_layout.add(r)
ota_layout.add(gdstk.Reference(via_stack_34, (-6.71,10.52), rotation=pi/2))
ota_layout.add(gdstk.Reference(pmoshv_2, (-7.495,14.225)))
ota_layout.add(gdstk.Reference(pmoshv_3, (4.275,9.05)))
ota_layout.add(gdstk.Reference(pmoshv_3, (4.275,17.64)))
r = gdstk.Reference(via_stack_13, (28.085,10.625), rotation=pi); r.repetition = gdstk.Repetition(4, 1, v1=(-6.76,0), v2=(0,0)); ota_layout.add(r)
r = gdstk.Reference(via_stack_13, (28.085,22.135), rotation=pi); r.repetition = gdstk.Repetition(4, 1, v1=(-6.76,0), v2=(0,0)); ota_layout.add(r)
ota_layout.add(gdstk.Reference(via_stack_32, (-5.655,13.895)))
ota_layout.add(gdstk.Reference(via_stack_32, (-5.655,20.555)))
r = gdstk.Reference(via_stack_16, (29.775,16.38), rotation=pi); r.repetition = gdstk.Repetition(8, 1, v1=(-3.38,0), v2=(0,0)); ota_layout.add(r)
r = gdstk.Reference(via_stack_14, (31.465,13.475), rotation=pi); r.repetition = gdstk.Repetition(5, 1, v1=(-6.76,0), v2=(0,0)); ota_layout.add(r)
r = gdstk.Reference(via_stack_14, (31.465,19.285), rotation=pi); r.repetition = gdstk.Repetition(5, 1, v1=(-6.76,0), v2=(0,0)); ota_layout.add(r)
r = gdstk.Reference(ntap1, (32.825,25.59), rotation=pi); r.repetition = gdstk.Repetition(24, 1, v1=(-1.26,0), v2=(0,0)); ota_layout.add(r)
r = gdstk.Reference(via_stack_15, (29.775,15.55), rotation=pi); r.repetition = gdstk.Repetition(8, 1, v1=(-3.38,0), v2=(0,0)); ota_layout.add(r)
ota_layout.add(gdstk.Reference(via_stack_1, (-44.695,15.915)))
ota_layout.add(gdstk.Reference(via_stack_1, (-35.935,15.915)))
ota_layout.add(gdstk.Reference(via_stack_32, (-17.775,13.895)))
ota_layout.add(gdstk.Reference(pmoshv_2, (-19.615,14.225)))
ota_layout.add(gdstk.Reference(via_stack_32, (-17.775,20.555)))
ota_layout.add(gdstk.Reference(pmoshv_2, (-15.575,14.225)))
ota_layout.add(gdstk.Reference(via_stack_26, (-11.76,10.775)))
ota_layout.add(gdstk.Reference(via_stack_7, (-43.235,8.585)))
ota_layout.add(gdstk.Reference(via_stack_7, (-34.475,8.585)))
ota_layout.add(gdstk.Reference(via_stack_12, (-11.715,20.725), x_reflection=True))
ota_layout.add(gdstk.Reference(via_stack_11, (-11.715,17.225), x_reflection=True))
ota_layout.add(gdstk.Reference(via_stack_3, (-49.28,12.47)))
ota_layout.add(gdstk.Reference(via_stack_3, (-33.01,12.47)))
ota_layout.add(gdstk.Reference(via_stack_3, (-41.77,19.355)))
ota_layout.add(gdstk.Reference(via_stack_3, (-28.425,19.355)))
r = gdstk.Reference(ntap1, (-21.555,21.395), x_reflection=True); r.repetition = gdstk.Repetition(1, 7, v1=(0,0), v2=(0,-1.26)); ota_layout.add(r)
ota_layout.add(gdstk.Reference(via_stack_4, (-34.47,22.84)))
ota_layout.add(gdstk.Reference(via_stack_4, (-43.23,22.845)))
ota_layout.add(gdstk.Reference(via_stack_2, (-18.165,9.1)))
ota_layout.add(gdstk.Reference(via_stack_2, (-29.535,15.915)))
ota_layout.add(gdstk.Reference(via_stack_23, (-11.715,22.265)))
ota_layout.add(gdstk.Reference(via_stack, (-43.235,9.415)))
ota_layout.add(gdstk.Reference(via_stack, (-46.155,22.415)))
ota_layout.add(gdstk.Reference(via_stack, (-40.315,22.415)))
ota_layout.add(gdstk.Reference(via_stack, (-37.395,22.415)))
ota_layout.add(gdstk.Reference(via_stack, (-31.555,22.415)))
ota_layout.add(gdstk.Reference(via_stack_28, (-30.395,9.1)))
r = gdstk.Reference(ntap1, (-51.215,24.81)); r.repetition = gdstk.Repetition(20, 1, v1=(1.26,0), v2=(0,0)); ota_layout.add(r)
ota_layout.add(gdstk.Reference(via_stack_6, (-34.475,9.415)))
r = gdstk.Reference(pmoshv, (-46.995,9.915)); r.repetition = gdstk.Repetition(6, 1, v1=(2.92,0), v2=(0,0)); ota_layout.add(r)
ota_layout.add(gdstk.Reference(via_stack_24, (-29.535,10.775)))
ota_layout.add(gdstk.Reference(nmoshv_1, (-18.87,4.135)))
ota_layout.add(gdstk.Reference(nmoshv_1, (-16.98,4.135)))
ota_layout.add(gdstk.Reference(nmoshv_1, (-15.075,4.135)))
ota_layout.add(gdstk.Reference(via_stack_8, (-18.72,5.635)))
ota_layout.add(gdstk.Reference(via_stack_3, (-33.01,-2.98)))
ota_layout.add(gdstk.Reference(via_stack_3, (-28.425,-2.98)))
ota_layout.add(gdstk.Reference(via_stack_3, (-28.425,1.44)))
ota_layout.add(gdstk.Reference(via_stack_3, (-49.28,3.905)))
ota_layout.add(gdstk.Reference(via_stack_3, (-41.77,3.905)))
ota_layout.add(gdstk.Reference(via_stack_8, (-15.45,5.635)))
ota_layout.add(gdstk.Reference(via_stack_26, (-22.525,1.485)))
ota_layout.add(gdstk.Reference(via_stack_29, (-22.525,-9.145)))
r = gdstk.Reference(via_stack_6, (-20.585,-6.81), rotation=pi/2); r.repetition = gdstk.Repetition(4, 1, v1=(0,1.38), v2=(0,0)); ota_layout.add(r)
ota_layout.add(gdstk.Reference(via_stack_33, (-19.935,3.805)))
ota_layout.add(gdstk.Reference(via_stack_33, (-14.235,3.805)))
ota_layout.add(gdstk.Reference(via_stack_33, (-19.935,7.465)))
ota_layout.add(gdstk.Reference(via_stack_33, (-14.235,7.465)))
r = gdstk.Reference(via_stack_18, (-17.085,-6.12), rotation=pi/2); r.repetition = gdstk.Repetition(2, 1, v1=(0,2.76), v2=(0,0)); ota_layout.add(r)
ota_layout.add(gdstk.Reference(via_stack_5, (-43.235,7.785), x_reflection=True))
ota_layout.add(gdstk.Reference(via_stack_1, (-44.695,0.465)))
r = gdstk.Reference(ptap1, (-20.985,-9.42), rotation=pi/2); r.repetition = gdstk.Repetition(12, 1, v1=(0,0.78), v2=(0,0)); ota_layout.add(r)
r = gdstk.Reference(ptap1, (-12.405,-9.42), rotation=pi/2); r.repetition = gdstk.Repetition(12, 1, v1=(0,0.78), v2=(0,0)); ota_layout.add(r)
ota_layout.add(gdstk.Reference(via_stack_2, (-29.535,0.465)))
r = gdstk.Reference(ptap1, (-13.185,-9.42), rotation=pi/2); r.repetition = gdstk.Repetition(1, 10, v1=(0,0), v2=(-0.78,0)); ota_layout.add(r)
r = gdstk.Reference(ptap1, (-13.185,-0.84), rotation=pi/2); r.repetition = gdstk.Repetition(1, 10, v1=(0,0), v2=(-0.78,0)); ota_layout.add(r)
ota_layout.add(gdstk.Reference(via_stack_10, (-15.99,3.83)))
ota_layout.add(gdstk.Reference(via_stack_1, (-35.935,0.465)))
ota_layout.add(gdstk.Reference(via_stack, (-46.155,-6.035)))
ota_layout.add(gdstk.Reference(via_stack, (-40.315,-6.035)))
ota_layout.add(gdstk.Reference(via_stack, (-37.395,-6.035)))
ota_layout.add(gdstk.Reference(via_stack, (-31.555,-6.035)))
ota_layout.add(gdstk.Reference(via_stack, (-34.475,6.965)))
ota_layout.add(gdstk.Reference(via_stack_5, (-34.475,7.785), x_reflection=True))
ota_layout.add(gdstk.Reference(nmoshv, (-14.085,-7.65), rotation=pi/2))
r = gdstk.Reference(ptap1, (-21.765,3.295)); r.repetition = gdstk.Repetition(1, 6, v1=(0,0), v2=(0,0.78)); ota_layout.add(r)
ota_layout.add(gdstk.Reference(via_stack_19, (-17.085,-5.43), rotation=pi/2))
ota_layout.add(gdstk.Reference(via_stack_19, (-17.085,-4.05), rotation=pi/2))
r = gdstk.Reference(ptap1, (-13.185,3.295)); r.repetition = gdstk.Repetition(1, 6, v1=(0,0), v2=(0,0.78)); ota_layout.add(r)
r = gdstk.Reference(ntap1, (-51.215,-9.21)); r.repetition = gdstk.Repetition(20, 1, v1=(1.26,0), v2=(0,0)); ota_layout.add(r)
ota_layout.add(gdstk.Reference(via_stack_24, (-15.655,1.44)))
ota_layout.add(gdstk.Reference(via_stack_6, (-43.235,6.965)))
ota_layout.add(gdstk.Reference(via_stack_9, (-18.21,7.44)))
r = gdstk.Reference(pmoshv, (-46.995,-5.535)); r.repetition = gdstk.Repetition(6, 1, v1=(2.92,0), v2=(0,0)); ota_layout.add(r)
r = gdstk.Reference(ptap1, (-21.765,2.515)); r.repetition = gdstk.Repetition(12, 1, v1=(0.78,0), v2=(0,0)); ota_layout.add(r)
ota_layout.add(gdstk.Reference(nmoshv_1, (-20.775,4.135)))
ota_layout.add(gdstk.Reference(cmim, (-1.035,6.15), rotation=3*pi/2))
r = gdstk.Reference(ntap1, (32.825,7.95), rotation=pi); r.repetition = gdstk.Repetition(24, 1, v1=(-1.26,0), v2=(0,0)); ota_layout.add(r)
ota_layout.add(gdstk.Reference(via_stack_35, (-6.75,-4.74), rotation=pi/2))
ota_layout.add(gdstk.Label('vdd', (-55.185,8.29), layer=8, texttype=25))
ota_layout.add(gdstk.Label('vss', (-17.23,-10.215), layer=8, texttype=25))
ota_layout.add(gdstk.Label('vinp', (-43.255,27.385), layer=30, texttype=25))
ota_layout.add(gdstk.Label('vinn', (-34.485,27.41), layer=30, texttype=25))
ota_layout.add(gdstk.Label('iout', (-12.06,23.87), layer=10, texttype=25))
ota_layout.add(gdstk.Label('vout', (-8.685,10.56), layer=50, texttype=25))

lib.write_gds('ota_layout.gds')
